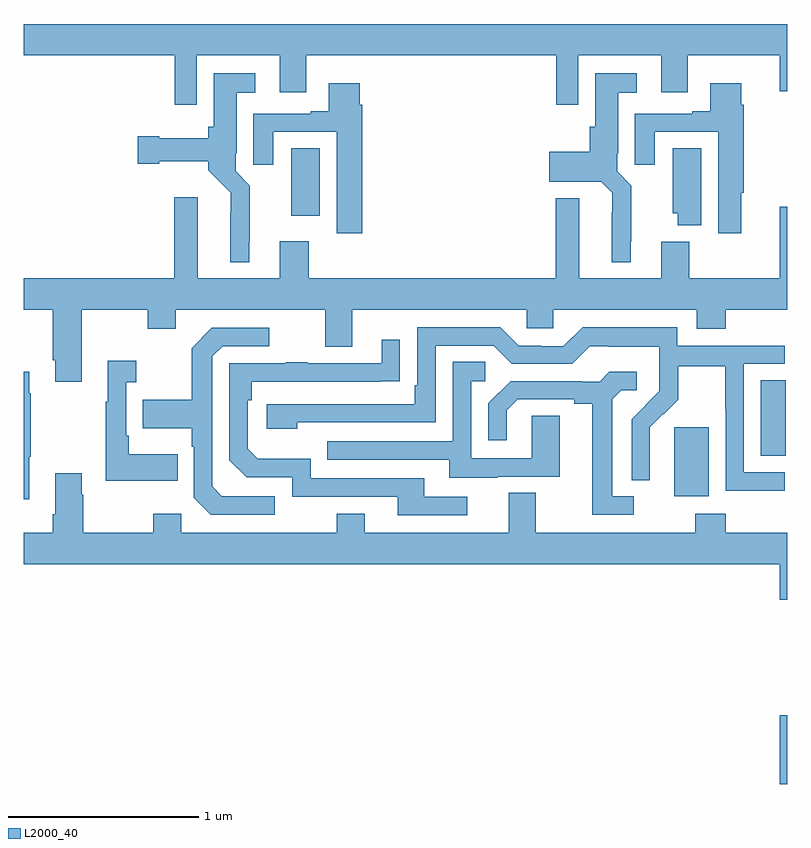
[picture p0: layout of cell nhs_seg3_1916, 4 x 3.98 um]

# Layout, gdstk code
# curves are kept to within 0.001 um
import gdstk
lib = gdstk.Library(unit=1e-6, precision=1e-09)
def R(c, l, rs):  # rectangles x0, y0, x1, y1
    for r in rs: c.add(gdstk.rectangle(r[:2], r[2:], *l))
def P(c, l, *ps):  # polygons
    for p in ps: c.add(gdstk.Polygon(p, *l))
L2000_40 = (2000, 40)

nhs_seg3_1916 = lib.new_cell('nhs_seg3_1916')
R(nhs_seg3_1916, L2000_40, [(212.96,730.4,213,730.759), (212.408,731.906,212.587,732.267), (212.861,732.118,212.992,732.515), (210.401,733.377,210.55,733.73)])
P(nhs_seg3_1916, L2000_40, [(209,734.216),(209.791,734.216),(209.791,733.956),(209.907,733.956),(209.907,734.216),(210.341,734.216),(210.341,734.022),(210.481,734.022),(210.481,734.216),(211.789,734.216),(211.789,733.956),(211.905,733.956),(211.905,734.216),(212.339,734.216),(212.339,734.022),(212.479,734.022),(212.479,734.216),(212.96,734.216),(212.96,734.028),(213,734.028),(213,734.38),(209,734.38)],
  [(212.179,733.243),(212.183,733.243),(212.183,733.534),(212.109,733.608),(212.109,733.702),(212.113,733.702),(212.113,734.021),(212.212,734.021),(212.212,734.122),(211.994,734.122),(211.994,733.842),(211.964,733.842),(211.964,733.711),(211.752,733.711),(211.752,733.553),(212.025,733.553),(212.082,733.496),(212.081,733.133),(212.179,733.133)],
  [(210.181,733.243),(210.185,733.243),(210.185,733.534),(210.111,733.608),(210.111,733.702),(210.115,733.702),(210.115,734.021),(210.214,734.021),(210.214,734.122),(209.996,734.122),(209.996,733.842),(209.966,733.842),(209.966,733.783),(209.71,733.783),(209.71,733.791),(209.598,733.791),(209.598,733.649),(209.71,733.649),(209.71,733.661),(209.966,733.661),(209.966,733.614),(210.084,733.496),(210.083,733.133),(210.181,733.133)],
  [(212.758,733.496),(212.771,733.496),(212.771,733.958),(212.758,733.958),(212.758,734.071),(212.597,734.071),(212.597,733.924),(212.501,733.924),(212.501,733.911),(212.201,733.911),(212.201,733.644),(212.305,733.644),(212.305,733.815),(212.639,733.815),(212.639,733.284),(212.758,733.284)],
  [(210.773,733.958),(210.76,733.958),(210.76,734.071),(210.599,734.071),(210.599,733.924),(210.503,733.924),(210.503,733.911),(210.203,733.911),(210.203,733.644),(210.307,733.644),(210.307,733.815),(210.641,733.815),(210.641,733.284),(210.773,733.284)],
  [(212.548,733.73),(212.399,733.73),(212.399,733.389),(212.426,733.389),(212.426,733.325),(212.548,733.325)],
  [(209.305,732.884),(209.65,732.884),(209.65,732.785),(209.797,732.785),(209.797,732.884),(210.581,732.884),(210.581,732.69),(210.721,732.69),(210.721,732.884),(211.635,732.884),(211.635,732.786),(211.773,732.786),(211.773,732.884),(212.525,732.884),(212.525,732.785),(212.678,732.785),(212.678,732.884),(213,732.884),(213,733.423),(212.96,733.423),(212.96,733.048),(212.487,733.048),(212.487,733.24),(212.339,733.24),(212.339,733.048),(211.909,733.048),(211.909,733.468),(211.787,733.468),(211.787,733.048),(210.494,733.048),(210.494,733.243),(210.341,733.243),(210.341,733.048),(209.911,733.048),(209.911,733.474),(209.789,733.474),(209.789,733.048),(209,733.048),(209,732.884),(209.153,732.884),(209.153,732.619),(209.165,732.619),(209.165,732.507),(209.305,732.507)],
  [(212.986,732.033),(212.772,732.033),(212.772,732.6),(212.986,732.6),(212.986,732.696),(212.424,732.696),(212.424,732.793),(211.927,732.793),(211.827,732.693),(211.712,732.693),(211.712,732.696),(211.593,732.696),(211.497,732.792),(211.062,732.792),(211.062,732.487),(211.049,732.487),(211.049,732.39),(210.273,732.39),(210.273,732.26),(210.434,732.26),(210.434,732.294),(211.158,732.294),(211.158,732.696),(211.461,732.696),(211.557,732.6),(211.872,732.6),(211.965,732.693),(212.065,732.693),(212.065,732.689),(212.328,732.689),(212.328,732.555),(212.33,732.555),(212.33,732.458),(212.184,732.31),(212.184,731.992),(212.28,731.992),(212.279,732.269),(212.349,732.339),(212.352,732.336),(212.429,732.413),(212.429,732.588),(212.674,732.588),(212.674,732.364),(212.676,732.364),(212.676,731.935),(212.986,731.935)],
  [(210.316,731.907),(210.039,731.907),(209.988,731.958),(209.988,732.639),(210.042,732.693),(210.286,732.693),(210.286,732.789),(209.985,732.789),(209.88,732.683),(209.88,732.411),(209.623,732.411),(209.623,732.263),(209.88,732.263),(209.88,732.167),(209.892,732.167),(209.892,731.898),(209.979,731.811),(210.316,731.811)],
  [(211.324,731.904),(211.099,731.904),(211.099,732),(210.504,732),(210.504,732.103),(210.227,732.103),(210.174,732.156),(210.174,732.41),(210.194,732.41),(210.194,732.507),(210.971,732.508),(210.971,732.727),(210.875,732.727),(210.875,732.603),(210.485,732.603),(210.485,732.608),(210.373,732.608),(210.373,732.603),(210.078,732.603),(210.078,732.096),(210.168,732.006),(210.408,732.006),(210.408,731.904),(210.959,731.904),(210.959,731.808),(211.324,731.808)],
  [(209.807,732.127),(209.551,732.127),(209.551,732.223),(209.538,732.223),(209.538,732.503),(209.59,732.503),(209.59,732.616),(209.441,732.616),(209.441,732.403),(209.43,732.403),(209.43,731.987),(209.807,731.987)],
  [(211.483,732.009),(211.807,732.009),(211.807,732.329),(211.662,732.329),(211.662,732.105),(211.344,732.105),(211.344,732.51),(211.417,732.51),(211.417,732.611),(211.248,732.611),(211.248,732.195),(210.589,732.195),(210.589,732.099),(211.229,732.099),(211.229,732.005),(211.483,732.005)],
  [(209.029,732.115),(209.037,732.115),(209.037,732.446),(209.029,732.446),(209.029,732.559),(209,732.559),(209,731.892),(209.029,731.892)],
  [(212.194,731.907),(212.083,731.907),(212.083,732.415),(212.13,732.462),(212.212,732.462),(212.212,732.559),(212.068,732.559),(212.016,732.507),(211.922,732.507),(211.922,732.51),(211.55,732.51),(211.434,732.394),(211.434,732.201),(211.531,732.201),(211.531,732.357),(211.588,732.414),(211.883,732.414),(211.883,732.392),(211.979,732.392),(211.979,731.811),(212.194,731.811)],
  [(213,731.716),(212.678,731.716),(212.678,731.815),(212.518,731.815),(212.518,731.716),(211.681,731.716),(211.681,731.924),(211.541,731.924),(211.541,731.716),(210.787,731.716),(210.787,731.815),(210.64,731.815),(210.64,731.716),(209.826,731.716),(209.826,731.815),(209.68,731.815),(209.68,731.716),(209.313,731.716),(209.313,731.915),(209.305,731.915),(209.305,732.028),(209.165,732.028),(209.165,731.812),(209.153,731.812),(209.153,731.716),(209,731.716),(209,731.552),(212.96,731.552),(212.96,731.364),(213,731.364)])

lib.write_gds('nhs_seg3_1916.gds')
